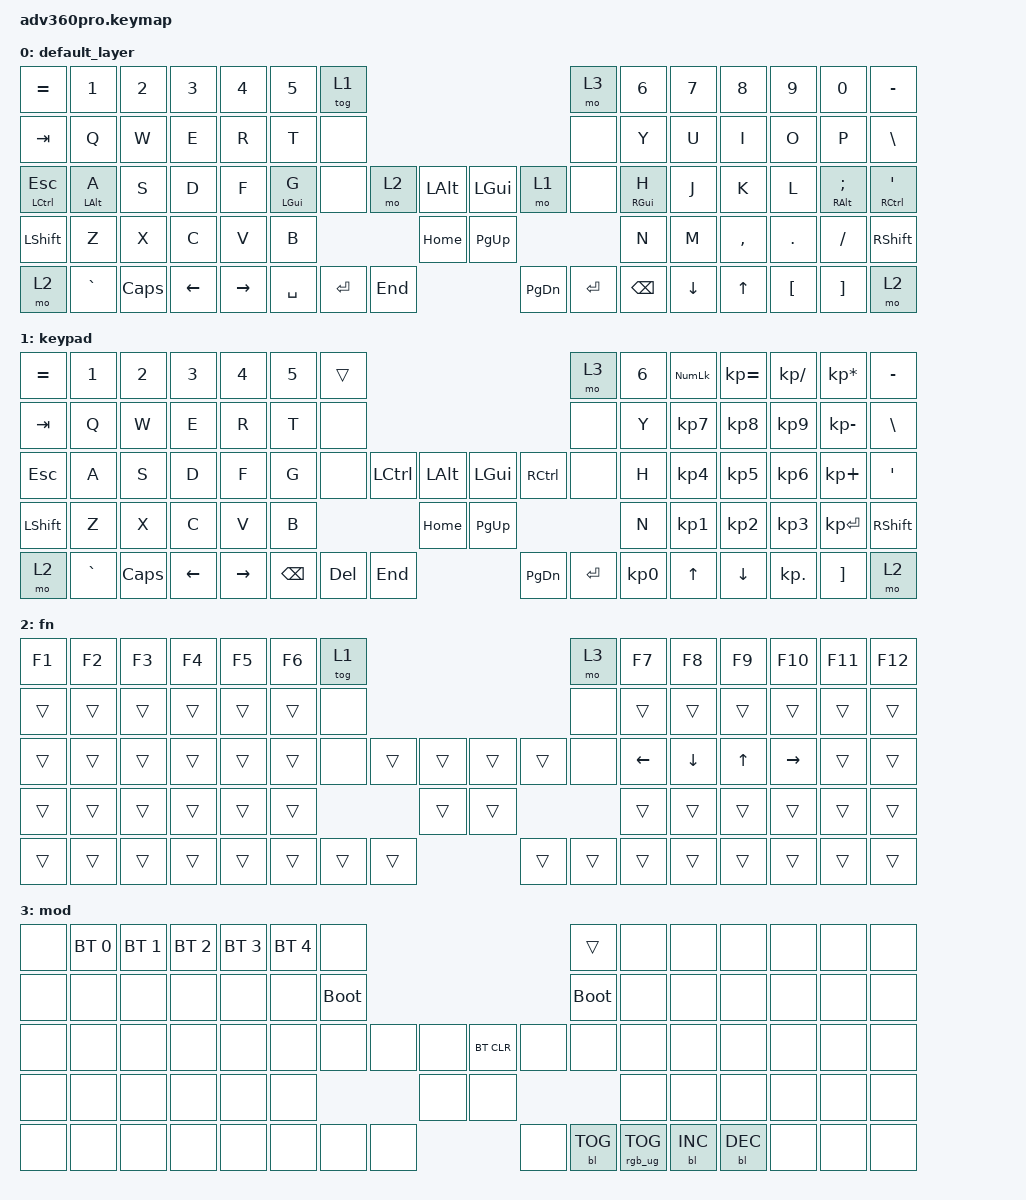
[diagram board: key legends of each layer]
#include <behaviors.dtsi>
#include <dt-bindings/zmk/backlight.h>
#include <dt-bindings/zmk/bt.h>
#include <dt-bindings/zmk/keys.h>
#include <dt-bindings/zmk/rgb.h>

/ {
    behaviors {
        hm: hm {
            compatible = "zmk,behavior-hold-tap";
            label = "HOMEROW_MODS";
            bindings = <&kp>, <&kp>;

            #binding-cells = <2>;
            tapping-term-ms = <200>;
            quick-tap-ms = <0>;
            flavor = "tap-preferred";
        };
    };

    keymap {
        compatible = "zmk,keymap";

        default_layer {
            bindings = <
&kp EQUAL      &kp N1          &kp N2    &kp N3    &kp N4     &kp N5          &tog 1                                                                         &mo 3  &kp N6           &kp N7    &kp N8     &kp N9    &kp N0              &kp MINUS
&kp TAB        &kp Q           &kp W     &kp E     &kp R      &kp T           &none                                                                          &none  &kp Y            &kp U     &kp I      &kp O     &kp P               &kp BSLH
&hm LCTRL ESC  &hm LEFT_ALT A  &kp S     &kp D     &kp F      &hm LEFT_GUI G  &none              &mo 2      &kp LALT    &kp LGUI   &mo 1                     &none  &hm RIGHT_GUI H  &kp J     &kp K      &kp L     &hm RIGHT_ALT SEMI  &hm RCTRL SQT
&kp LSHFT      &kp Z           &kp X     &kp C     &kp V      &kp B                                         &kp HOME    &kp PG_UP                                   &kp N            &kp M     &kp COMMA  &kp DOT   &kp FSLH            &kp RSHFT
&mo 2          &kp GRAVE       &kp CAPS  &kp LEFT  &kp RIGHT                          &kp SPACE  &kp ENTER  &kp END     &kp PG_DN  &kp ENTER  &kp BACKSPACE                          &kp DOWN  &kp UP     &kp LBKT  &kp RBKT            &mo 2
            >;
        };

        keypad {
            bindings = <
&kp EQUAL  &kp N1     &kp N2    &kp N3    &kp N4     &kp N5  &trans                                                                    &mo 3  &kp N6  &kp KP_NUM  &kp KP_EQUAL  &kp KP_DIVIDE  &kp KP_MULTIPLY  &kp MINUS
&kp TAB    &kp Q      &kp W     &kp E     &kp R      &kp T   &none                                                                     &none  &kp Y   &kp KP_N7   &kp KP_N8     &kp KP_N9      &kp KP_MINUS     &kp BSLH
&kp ESC    &kp A      &kp S     &kp D     &kp F      &kp G   &none             &kp LCTRL  &kp LALT    &kp LGUI   &kp RCTRL             &none  &kp H   &kp KP_N4   &kp KP_N5     &kp KP_N6      &kp KP_PLUS      &kp SQT
&kp LSHFT  &kp Z      &kp X     &kp C     &kp V      &kp B                                &kp HOME    &kp PG_UP                               &kp N   &kp KP_N1   &kp KP_N2     &kp KP_N3      &kp KP_ENTER     &kp RSHFT
&mo 2      &kp GRAVE  &kp CAPS  &kp LEFT  &kp RIGHT                  &kp BSPC  &kp DEL    &kp END     &kp PG_DN  &kp ENTER  &kp KP_N0                 &kp UP      &kp DOWN      &kp KP_DOT     &kp RBKT         &mo 2
            >;
        };

        fn {
            bindings = <
&kp F1  &kp F2  &kp F3  &kp F4  &kp F5  &kp F6  &tog 1                                                    &mo 3  &kp F7    &kp F8          &kp F9        &kp F10    &kp F11  &kp F12
&trans  &trans  &trans  &trans  &trans  &trans  &none                                                     &none  &trans    &trans          &trans        &trans     &trans   &trans
&trans  &trans  &trans  &trans  &trans  &trans  &none           &trans  &trans    &trans  &trans          &none  &kp LEFT  &kp DOWN_ARROW  &kp UP_ARROW  &kp RIGHT  &trans   &trans
&trans  &trans  &trans  &trans  &trans  &trans                          &trans    &trans                         &trans    &trans          &trans        &trans     &trans   &trans
&trans  &trans  &trans  &trans  &trans                  &trans  &trans  &trans    &trans  &trans  &trans                   &trans          &trans        &trans     &trans   &trans
            >;
        };

        mod {
            bindings = <
&none  &bt BT_SEL 0  &bt BT_SEL 1  &bt BT_SEL 2  &bt BT_SEL 3  &bt BT_SEL 4  &none                                                                        &trans       &none  &none       &none       &none  &none  &none
&none  &none         &none         &none         &none         &none         &bootloader                                                                  &bootloader  &none  &none       &none       &none  &none  &none
&none  &none         &none         &none         &none         &none         &none               &none  &none    &bt BT_CLR  &none                        &none        &none  &none       &none       &none  &none  &none
&none  &none         &none         &none         &none         &none                                    &none    &none                                                 &none  &none       &none       &none  &none  &none
&none  &none         &none         &none         &none                                    &none  &none  &none    &none       &bl BL_TOG  &rgb_ug RGB_TOG                      &bl BL_INC  &bl BL_DEC  &none  &none  &none
            >;
        };
    };
};
